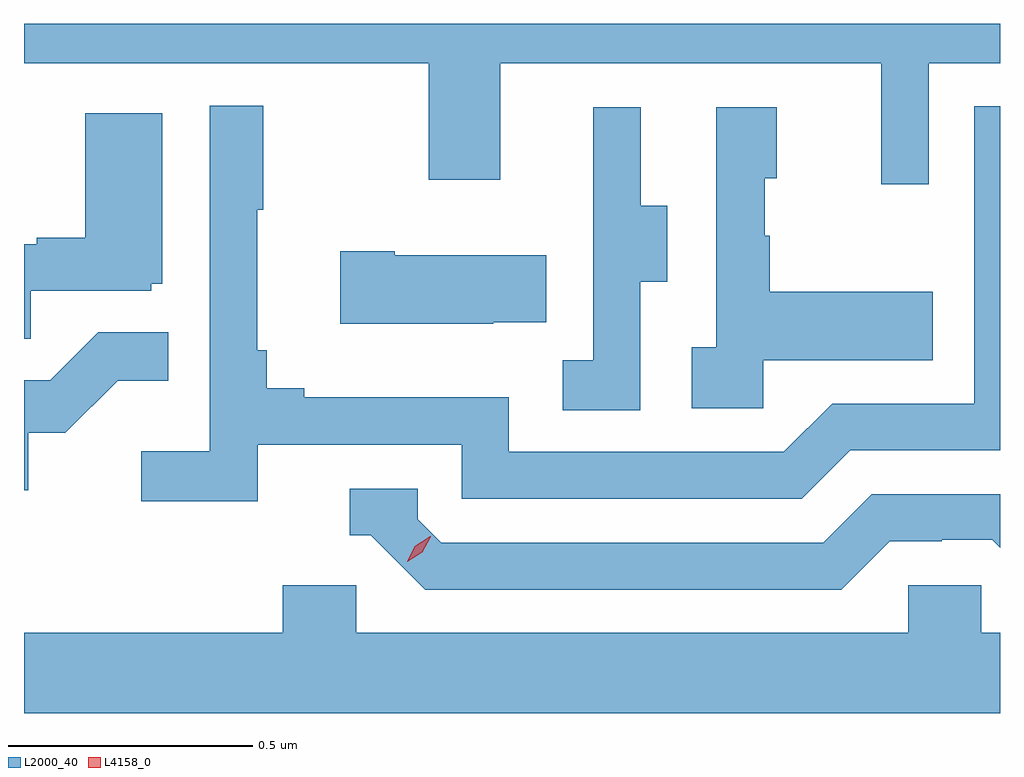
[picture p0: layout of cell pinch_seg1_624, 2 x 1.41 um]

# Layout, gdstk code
import gdstk
lib = gdstk.Library(unit=1e-6, precision=1e-09)
def P(c, l, *ps):  # polygons
    for p in ps: c.add(gdstk.Polygon(p, *l))
L2000_40 = (2000, 40)
L4158_0 = (4158, 0)

pinch_seg1_624 = lib.new_cell('pinch_seg1_624')
P(pinch_seg1_624, L2000_40, [(1115.457,518.432),(1115.603,518.432),(1115.603,518.512),(1113.603,518.512),(1113.603,518.432),(1114.432,518.432),(1114.432,518.193),(1114.579,518.193),(1114.579,518.432),(1115.36,518.432),(1115.36,518.184),(1115.457,518.184)],
  [(1114.082,517.65),(1114.5,517.65),(1114.5,517.539),(1115.197,517.539),(1115.296,517.638),(1115.603,517.638),(1115.603,518.343),(1115.55,518.343),(1115.55,517.734),(1115.259,517.734),(1115.16,517.635),(1114.596,517.635),(1114.596,517.747),(1114.177,517.747),(1114.177,517.766),(1114.1,517.766),(1114.1,517.843),(1114.081,517.843),(1114.081,518.131),(1114.093,518.131),(1114.093,518.344),(1113.984,518.344),(1113.984,517.636),(1113.843,517.636),(1113.843,517.534),(1114.082,517.534)],
  [(1114.866,517.984),(1114.921,517.984),(1114.921,518.139),(1114.867,518.139),(1114.867,518.341),(1114.769,518.341),(1114.769,518.127),(1114.77,518.127),(1114.77,517.823),(1114.707,517.823),(1114.707,517.72),(1114.866,517.72)],
  [(1115.118,517.823),(1115.465,517.823),(1115.465,517.963),(1115.131,517.963),(1115.131,518.078),(1115.121,518.078),(1115.121,518.196),(1115.146,518.196),(1115.146,518.341),(1115.022,518.341),(1115.022,517.85),(1114.971,517.85),(1114.971,517.725),(1115.118,517.725)],
  [(1113.617,517.965),(1113.864,517.965),(1113.864,517.98),(1113.886,517.98),(1113.886,518.329),(1113.728,518.329),(1113.728,518.074),(1113.629,518.074),(1113.629,518.061),(1113.603,518.061),(1113.603,517.867),(1113.617,517.867)],
  [(1114.565,517.901),(1114.673,517.901),(1114.673,518.038),(1114.363,518.038),(1114.363,518.046),(1114.251,518.046),(1114.251,517.898),(1114.565,517.898)],
  [(1113.612,517.674),(1113.688,517.674),(1113.795,517.781),(1113.899,517.781),(1113.899,517.88),(1113.755,517.88),(1113.657,517.782),(1113.603,517.782),(1113.603,517.557),(1113.612,517.557)],
  [(1115.377,517.452),(1115.484,517.452),(1115.484,517.455),(1115.587,517.455),(1115.603,517.439),(1115.603,517.548),(1115.34,517.548),(1115.241,517.449),(1114.458,517.449),(1114.41,517.497),(1114.41,517.56),(1114.271,517.56),(1114.271,517.464),(1114.314,517.464),(1114.425,517.353),(1115.278,517.353)],
  [(1115.603,517.264),(1115.565,517.264),(1115.565,517.362),(1115.415,517.362),(1115.415,517.264),(1114.284,517.264),(1114.284,517.362),(1114.133,517.362),(1114.133,517.264),(1113.603,517.264),(1113.603,517.1),(1115.603,517.1)])
P(pinch_seg1_624, L4158_0, [(1114.388,517.41),(1114.388,517.41),(1114.404,517.442),(1114.435,517.462),(1114.436,517.462),(1114.436,517.461),(1114.419,517.429),(1114.388,517.41)])

lib.write_gds('pinch_seg1_624.gds')
